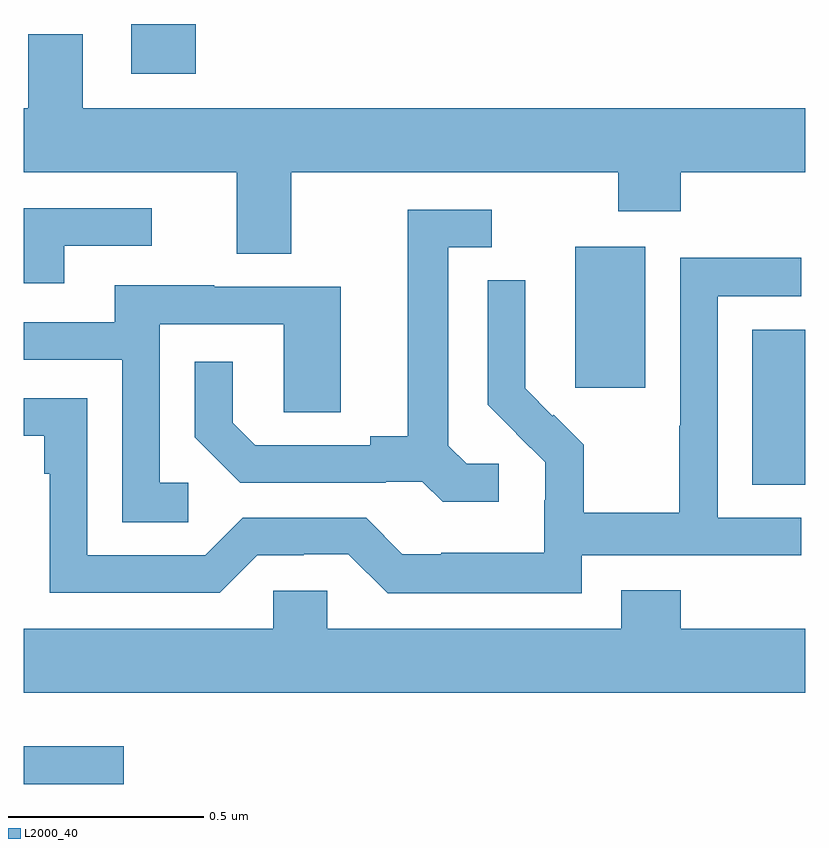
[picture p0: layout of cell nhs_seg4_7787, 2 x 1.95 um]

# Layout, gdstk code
import gdstk
lib = gdstk.Library(unit=1e-6, precision=1e-09)
def R(c, l, rs):  # rectangles x0, y0, x1, y1
    for r in rs: c.add(gdstk.rectangle(r[:2], r[2:], *l))
def P(c, l, *ps):  # polygons
    for p in ps: c.add(gdstk.Polygon(p, *l))
L2000_40 = (2000, 40)

nhs_seg4_7787 = lib.new_cell('nhs_seg4_7787')
R(nhs_seg4_7787, L2000_40, [(207,761.955,207.256,762.052), (208.865,762.721,209,763.118), (208.412,762.969,208.591,763.33), (207.275,763.773,207.44,763.9)])
P(nhs_seg4_7787, L2000_40, [(207.685,763.52),(208.522,763.52),(208.522,763.421),(208.682,763.421),(208.682,763.52),(209,763.52),(209,763.684),(207.151,763.684),(207.151,763.874),(207.011,763.874),(207.011,763.684),(207,763.684),(207,763.52),(207.545,763.52),(207.545,763.312),(207.685,763.312)],
  [(207.103,763.332),(207.328,763.332),(207.328,763.428),(207,763.428),(207,763.236),(207.103,763.236)],
  [(208.216,762.774),(208.134,762.774),(208.087,762.821),(208.087,763.329),(208.198,763.329),(208.198,763.425),(207.983,763.425),(207.983,762.845),(207.887,762.845),(207.887,762.822),(207.592,762.822),(207.535,762.879),(207.535,763.036),(207.438,763.036),(207.438,762.842),(207.554,762.726),(207.926,762.726),(207.926,762.729),(208.02,762.729),(208.072,762.677),(208.216,762.677)],
  [(208.428,762.54),(208.99,762.54),(208.99,762.636),(208.776,762.636),(208.776,763.203),(208.99,763.203),(208.99,763.302),(208.68,763.302),(208.68,762.872),(208.678,762.872),(208.678,762.649),(208.433,762.649),(208.433,762.823),(208.356,762.9),(208.353,762.897),(208.283,762.968),(208.283,763.09),(208.284,763.09),(208.284,763.244),(208.188,763.244),(208.188,762.926),(208.261,762.853),(208.26,762.852),(208.334,762.778),(208.334,762.681),(208.332,762.681),(208.332,762.547),(208.069,762.547),(208.069,762.543),(207.969,762.543),(207.876,762.636),(207.561,762.636),(207.465,762.54),(207.162,762.54),(207.162,762.942),(207,762.942),(207,762.846),(207.053,762.846),(207.053,762.749),(207.066,762.749),(207.066,762.444),(207.501,762.444),(207.597,762.54),(207.716,762.54),(207.716,762.543),(207.831,762.543),(207.931,762.443),(208.428,762.443)],
  [(207.421,762.726),(207.348,762.726),(207.348,763.131),(207.666,763.131),(207.666,762.907),(207.811,762.907),(207.811,763.227),(207.487,763.227),(207.487,763.231),(207.233,763.231),(207.233,763.137),(207,763.137),(207,763.041),(207.252,763.041),(207.252,762.625),(207.421,762.625)],
  [(209,762.352),(208.682,762.352),(208.682,762.451),(208.529,762.451),(208.529,762.352),(207.777,762.352),(207.777,762.45),(207.639,762.45),(207.639,762.352),(207,762.352),(207,762.188),(209,762.188)])

lib.write_gds('nhs_seg4_7787.gds')
